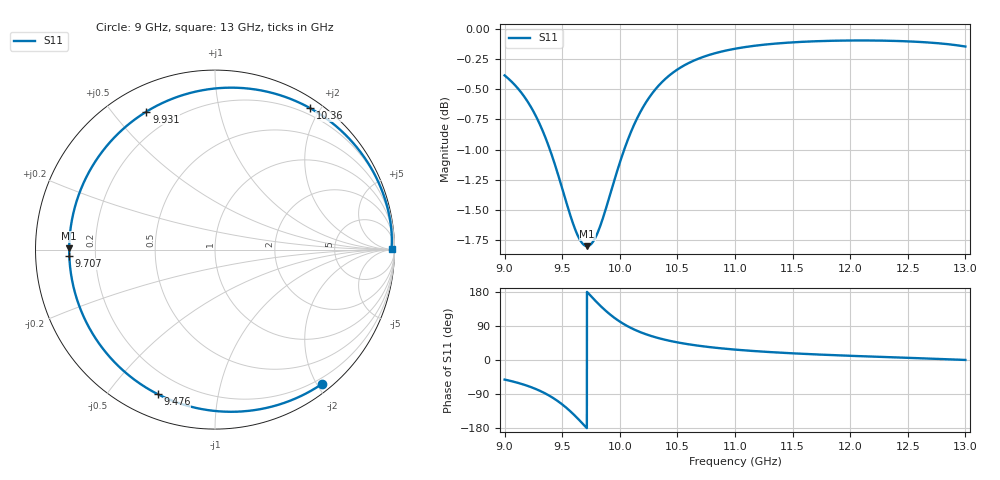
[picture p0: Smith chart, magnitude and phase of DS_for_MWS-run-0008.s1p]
! TOUCHSTONE file generated by CST DESIGN STUDIO
! Date and time: Tue Feb  4 17:36:30 2025
! Project name: C:\Work\MatlabApps\UnitCellOptimizationMatlab\CST\unitcell.cst
! Tree item: Tasks\Sweep1\SPara1\S-Parameters
! Header version: 2024
! Port assignment regex: !\s*Touchstone port\s*([0-9]+)\s*=\s*(CST MWS port|CST DES external port|CST DES block port)\s*(.+)\s* \(\"(.*)\"\)(\s*mode\s*([0-9]+))?.*
! Touchstone port assignment:
! Touchstone port 1 = CST DES external port 1 ("")
# GHz S MA R 50
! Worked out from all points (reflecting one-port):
!   4001 points, 9 GHz to 13 GHz, reference 50 ohm
!   lowest |S11| = -1.8 dB at 9.716 GHz (marker M1), VSWR 9.67, Z = 5.17 + j0.215 ohm
!   phase of S11 starts at -52 deg and turns -308 deg over the sweep
!   S11 on the Smith chart (normalised r, x): 9 GHz: 0.12, -2.06; 9.476 GHz: 0.10, -0.67; 9.707 GHz: 0.10, -0.02; 9.931 GHz: 0.11, +0.61; 10.36 GHz: 0.12, +1.87; 13 GHz: open
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9  0.9567 -51.6
9.127  0.9435 -61.3
9.248  0.9247 -73.7
9.376  0.8958 -92.1
9.428  0.8811 -101.6
9.476  0.8663 -111.6
9.5  0.8587 -117.1
9.548  0.8435 -129.2
9.596  0.8297 -142.7
9.654  0.8174 -160.4
9.707  0.8126 -177.6
9.716  0.8125 179.5
9.761  0.8152 164.9
9.808  0.8231 150.1
9.87  0.8394 132.0
9.931  0.8585 116.4
10  0.8801 101.4
10.077  0.9015 87.6
10.171  0.9224 74.4
10.26  0.9374 64.5
10.356  0.9496 56.1
10.5  0.9622 46.5
10.718  0.9736 36.3
11  0.9815 27.4
11.5  0.9875 17.6
12  0.9893 11.1
12.5  0.9884 5.7
13  0.9835 0.1
